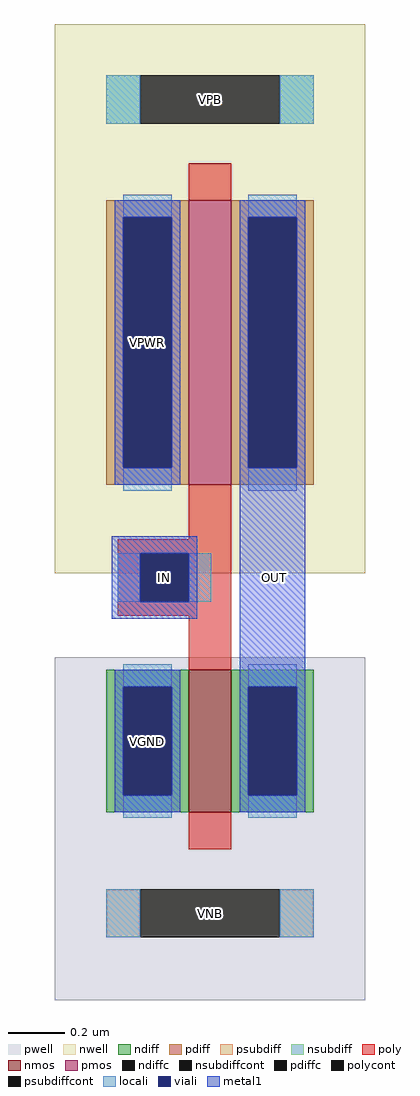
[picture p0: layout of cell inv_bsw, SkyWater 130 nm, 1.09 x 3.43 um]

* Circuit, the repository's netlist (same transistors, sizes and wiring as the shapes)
** sch_path: /home/yohanes/sky130_projects/UNIC-CASS-2024/xschem/inv_bsw.sch
.subckt inv_bsw IN OUT VPWR VPB VGND VNB
*.PININFO IN:I OUT:O VPWR:I VPB:I VGND:I VNB:I
XM2 OUT IN VGND VNB sky130_fd_pr__nfet_01v8 L=0.15 W=0.5 nf=1 m=1
XM1 OUT IN VPWR VPB sky130_fd_pr__pfet_01v8 L=0.15 W=1 nf=1 m=1
.ends
.end

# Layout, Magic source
magic
tech sky130A
magscale 1 2
<< nwell >>
rect -3 501 215 563
rect 33 471 179 501
<< pwell >>
rect -3 -123 215 118
<< psubdiff >>
rect 33 -79 57 -45
rect 155 -79 179 -45
<< nsubdiff >>
rect 33 493 57 527
rect 155 493 179 527
<< psubdiffcont >>
rect 57 -79 155 -45
<< nsubdiffcont >>
rect 57 493 155 527
<< poly >>
rect 91 201 121 213
rect 41 191 121 201
rect 41 157 57 191
rect 91 157 121 191
rect 41 147 121 157
rect 91 134 121 147
<< polycont >>
rect 57 157 91 191
<< locali >>
rect 33 493 57 527
rect 155 493 179 527
rect 41 157 57 191
rect 91 157 107 191
rect 33 -79 57 -45
rect 155 -79 179 -45
<< viali >>
rect 57 157 91 191
<< metal1 >>
rect 37 191 97 203
rect 37 157 57 191
rect 91 157 97 191
rect 37 145 97 157
rect 127 104 173 242
use sky130_fd_pr__nfet_01v8_RH3MT7  sky130_fd_pr__nfet_01v8_RH3MT7_1
transform 1 0 106 0 1 59
box -73 -76 73 76
use sky130_fd_pr__pfet_01v8_2XU92K  sky130_fd_pr__pfet_01v8_2XU92K_1
transform 1 0 106 0 1 339
box -109 -162 109 162
<< labels >>
flabel metal1 s 74 174 74 174 0 FreeSans 160 0 0 0 IN
port 1 nsew
flabel metal1 s 151 174 151 174 0 FreeSans 160 0 0 0 OUT
port 2 nsew
flabel metal1 s 62 339 62 339 0 FreeSans 160 0 0 0 VPWR
port 3 nsew
flabel locali s 106 510 106 510 0 FreeSans 160 0 0 0 VPB
port 4 nsew
flabel metal1 s 62 59 62 59 0 FreeSans 160 0 0 0 VGND
port 5 nsew
flabel locali s 106 -62 106 -62 0 FreeSans 160 0 0 0 VNB
port 6 nsew
<< end >>

# cell sky130_fd_pr__nfet_01v8_RH3MT7: kit device sky130_fd_pr__nfet_01v8, w 0.5 l 0.150 m 1 nf 1 diffcov 100 polycov 100 guard 0 glc 1 grc 1 gtc 1 gbc 1 tbcov 100 rlcov 100 topc 0 botc 0 poverlap 0 doverlap 0 lmin 0.15 wmin 0.42 compatible {sky130_fd_pr__nfet_01v8 sky130_fd_pr__nfet_01v8_lvt sky130_fd_bs_flash__special_sonosfet_star sky130_fd_pr__nfet_g5v0d10v5 sky130_fd_pr__nfet_05v0_nvt sky130_fd_pr__nfet_03v3_nvt} full_metal 0 viasrc 100 viadrn 100 viagate 100 viagb 0 viagr 0 viagl 0 viagt 0

# cell sky130_fd_pr__pfet_01v8_2XU92K: kit device sky130_fd_pr__pfet_01v8, w 1 l 0.15 m 1 nf 1 diffcov 100 polycov 100 guard 0 glc 1 grc 1 gtc 1 gbc 1 tbcov 100 rlcov 100 topc 0 botc 0 poverlap 0 doverlap 0 lmin 0.15 wmin 0.42 compatible {sky130_fd_pr__pfet_01v8 sky130_fd_pr__pfet_01v8_lvt sky130_fd_pr__pfet_01v8_hvt sky130_fd_pr__pfet_g5v0d10v5} full_metal 0 viasrc 100 viadrn 100 viagate 100 viagb 0 viagr 0 viagl 0 viagt 0
